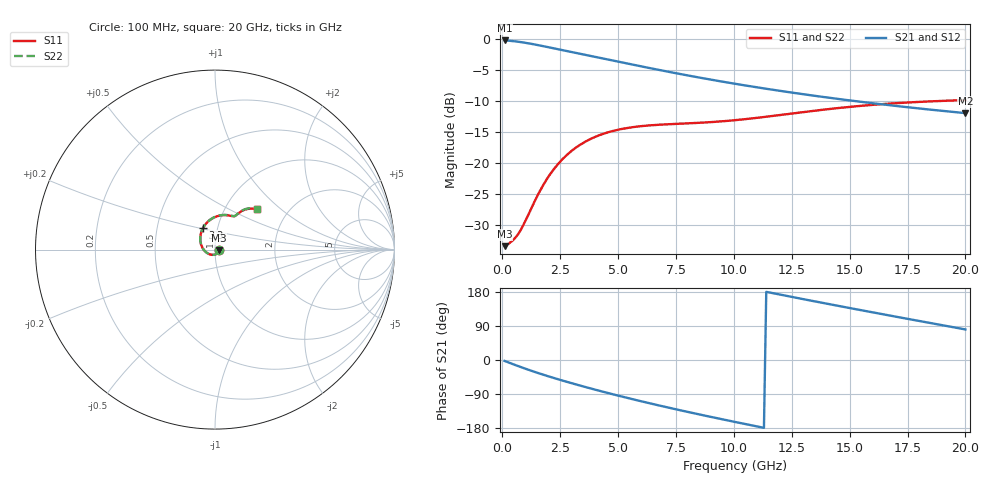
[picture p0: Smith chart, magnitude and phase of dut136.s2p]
! Touchstone file exported from HFSS 2024.1.0
!  File:  C:/UserFiles/LocalFiles/RDL_TSV_Batchsim/temp_RDL_TSV_136_1779428660.aedt
!  Generated:  01:58:05 PM May 22, 2026
!  Design:  RDL_TSV
!  Project:  temp_RDL_TSV_136_1779428660
!  Setup:  Setup1
!  Solution:  Sweep
! Variables:
!  dtsv = 14.35um
!  hbump = 3um
!  htsv = 93.33um
!  ldown = 409.53um
!  lrdl = 630.75um
!  p = 40
!  p1 = 40.31um
!  rhole = 10um
!  subl = 3751.59um
!  t = 450um
!  tdown = 2.31um
!  trdl = 3.81um
!  viad = 10um
!  wdown = 23.13um
!  wrdl = 17.68um
!  xbump = 18um
# GHz S MA R 50.000000
! Terminal data exported
! Port[1] = TM1_1_T1
! Port[2] = TM1_4_T1
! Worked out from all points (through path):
!   200 points, 100 MHz to 20 GHz, reference 50 ohm
!   highest |S21| = -0.19 dB at 100 MHz (marker M1); lowest = -11.9 dB at 20 GHz (marker M2)
!   group delay of S21, straight-line fit = 37 ps
!   lowest |S11| = -33.3 dB at 100 MHz (marker M3), VSWR 1.04, Z = 52.2 - j0.418 ohm
!   |S11| at or under -10 dB: start of sweep to 18.52 GHz
!   |S22| runs from -33.3 to -9.7 dB; largest |S21 - S12| = 1e-14
!   S11 on the Smith chart (normalised r, x): 100 MHz: 1.04, -0.01; 3.3 GHz: 0.85, +0.21; 20 GHz: 1.40, +0.70
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0.1  0.02154 -10.7  0.9778 -2.4  0.9778 -2.4  0.02154 -10.7
! Gamma 0 0 0 0
! Port Impedance 50 0 50 0
0.4  0.02352 -47.4  0.9688 -9.6  0.9688 -9.6  0.0235 -47.4
0.7  0.02722 -87.4  0.9545 -16.4  0.9545 -16.4  0.02718 -87.5
1.1  0.03773 -133.7  0.9293 -25.2  0.9293 -25.2  0.03774 -134.0
1.6  0.05876 -173.9  0.8926 -35.5  0.8926 -35.5  0.05894 -174.2
2  0.07847 163.7  0.862 -43.2  0.862 -43.2  0.07883 163.5
2.4  0.09847 146.4  0.8319 -50.7  0.8319 -50.7  0.09899 146.2
3.3  0.1388 118.2  0.7678 -66.5  0.7678 -66.5  0.1397 118.1
3.5  0.1465 113.3  0.7543 -69.9  0.7543 -69.9  0.1474 113.1
4.3  0.1715 96.9  0.7025 -83.0  0.7025 -83.0  0.1727 96.8
5.2  0.19 83.3  0.6486 -97.0  0.6486 -97.0  0.1912 83.2
6  0.1996 74.5  0.6047 -108.9  0.6047 -108.9  0.2009 74.4
6.8  0.205 68.2  0.5645 -120.4  0.5645 -120.4  0.2063 68.1
7.6  0.2085 63.9  0.5282 -131.5  0.5282 -131.5  0.2098 63.9
8.4  0.2118 61.2  0.4955 -142.2  0.4955 -142.2  0.2131 61.2
10.1  0.2233 58.5  0.4364 -164.1  0.4364 -164.1  0.2247 58.6
11.6  0.2401 57.1  0.3939 177.4  0.3939 177.4  0.2417 57.3
13.4  0.2644 54.9  0.3522 155.8  0.3522 155.8  0.2666 55.1
15  0.2852 52.1  0.3216 137.1  0.3216 137.1  0.2877 52.3
16.7  0.3029 48.9  0.2946 117.7  0.2946 117.7  0.3059 49.1
18.3  0.3149 46.2  0.2733 99.6  0.2733 99.6  0.3182 46.3
20  0.3237 43.9  0.2542 80.6  0.2542 80.6  0.3273 44.0
